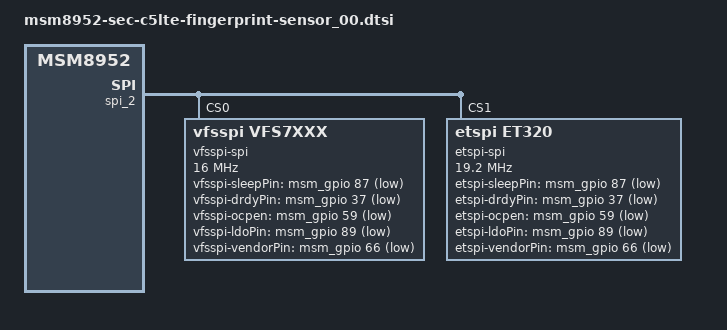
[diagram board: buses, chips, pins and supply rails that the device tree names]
/* Copyright (c) 2013-2014, The Linux Foundation. All rights reserved.
 *
 * This program is free software; you can redistribute it and/or modify
 * it under the terms of the GNU General Public License version 2 and
 * only version 2 as published by the Free Software Foundation.
 *
 * This program is distributed in the hope that it will be useful,
 * but WITHOUT ANY WARRANTY; without even the implied warranty of
 * MERCHANTABILITY or FITNESS FOR A PARTICULAR PURPOSE.  See the
 * GNU General Public License for more details.
 */

/{
	aliases {
		spi2 = &spi_2;
	};
};

&soc {

	i2c_2: i2c@78b6000 {
		status = "disabled";
	};

	spi_2: spi@78b6000 { /* BLSP1 QUP1 */
		status = "okay";
		compatible = "qcom,spi-qup-v2";
		#address-cells = <1>;
		#size-cells = <0>;
		reg-names = "spi_physical", "spi_bam_physical";
		reg = <0x78b6000 0x600>, <0x7884000 0x1f000>;
		interrupt-names = "spi_irq", "spi_bam_irq";
		interrupts = <0 96 0>, <0 238 0>;

		spi-max-frequency = <19200000>;
		qcom,master-id = <86>;

		qcom,ver-reg-exists;
		qcom,use-pinctrl;
		qcom,use-bam;
		qcom,bam-consumer-pipe-index = <6>;
		qcom,bam-producer-pipe-index = <7>;
		pinctrl-names = "spi_default", "spi_sleep";
		pinctrl-0 = <&spi2_active>;
		pinctrl-1 = <&spi2_sleep>;

		clock-names = "iface_clk", "core_clk";

		clocks = <&clock_gcc clk_gcc_blsp1_ahb_clk>,
			 <&clock_gcc clk_gcc_blsp1_qup2_spi_apps_clk>;

		vfsspi-spi@0 {
			compatible = "vfsspi,vfs7xxx";
			reg = <0>;
			spi-max-frequency = <16000000>;
			vfsspi-sleepPin = <&msm_gpio 87 0x1>;
			vfsspi-drdyPin = <&msm_gpio 37 0x01>;
			vfsspi-ocpen = <&msm_gpio 59 0x1>;
			vfsspi-ldoPin = <&msm_gpio 89 0x1>;
			vfsspi-vendorPin = <&msm_gpio 66 0x1>;
			vfsspi-orient = <0>;
			vfsspi-ldocontrol= <1>;
			vfsspi-min_cpufeq_limit = <1516800>;

			pinctrl-names = "default", "sleep", "idle";
			pinctrl-0 = <&vfsspi_drdypin_active>;
			pinctrl-1 = <&vfsspi_drdypin_suspend>;
			pinctrl-2 = <&vfsspi_drdypin_active>;
		};

		etspi-spi@1 {
			compatible = "etspi,et320";
			reg = <1>;
			spi-max-frequency = <19200000>;
			etspi-sleepPin = <&msm_gpio 87 0x1>;
			etspi-drdyPin = <&msm_gpio 37 0x01>;
			etspi-ocpen = <&msm_gpio 59 0x1>;
			etspi-ldoPin = <&msm_gpio 89 0x1>;
			etspi-vendorPin = <&msm_gpio 66 0x1>;
			etspi-orient = <0>;
			etspi-ldocontrol= <1>;
			etspi-min_cpufeq_limit = <1516800>;

			pinctrl-names = "default", "sleep", "idle";
			pinctrl-0 = <&etspi_drdypin_active>;
			pinctrl-1 = <&etspi_drdypin_suspend>;
			pinctrl-2 = <&etspi_drdypin_active>;
		};
	};
};
